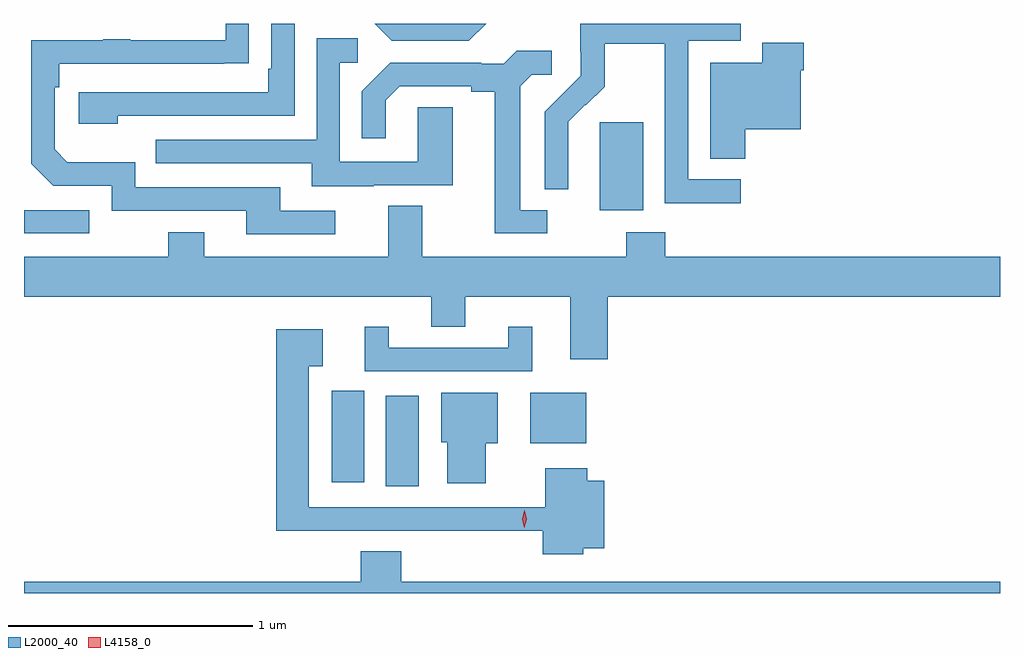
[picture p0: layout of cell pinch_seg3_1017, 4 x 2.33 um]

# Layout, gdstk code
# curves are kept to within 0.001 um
import gdstk
lib = gdstk.Library(unit=1e-6, precision=1e-09)
def R(c, l, rs):  # rectangles x0, y0, x1, y1
    for r in rs: c.add(gdstk.rectangle(r[:2], r[2:], *l))
def P(c, l, *ps):  # polygons
    for p in ps: c.add(gdstk.Polygon(p, *l))
L2000_40 = (2000, 40)
L4158_0 = (4158, 0)

pinch_seg3_1017 = lib.new_cell('pinch_seg3_1017')
R(pinch_seg3_1017, L2000_40, [(618.014,666.838,618.148,667.21), (617.792,666.855,617.926,667.23), (618.605,667.016,618.835,667.222), (616.531,667.875,616.798,667.971), (618.89,667.97,619.069,668.331)])
P(pinch_seg3_1017, L2000_40, [(619.468,668.097),(619.254,668.097),(619.254,668.664),(619.468,668.664),(619.468,668.735),(618.81,668.735),(618.81,668.619),(618.812,668.619),(618.812,668.522),(618.666,668.374),(618.666,668.056),(618.762,668.056),(618.761,668.333),(618.831,668.403),(618.834,668.4),(618.911,668.477),(618.911,668.652),(619.156,668.652),(619.156,668.428),(619.158,668.428),(619.158,667.999),(619.468,667.999)],
  [(618.425,668.735),(617.968,668.735),(618.039,668.664),(618.354,668.664)],
  [(616.916,668.358),(617.64,668.358),(617.64,668.735),(617.544,668.735),(617.544,668.551),(617.531,668.551),(617.531,668.454),(616.755,668.454),(616.755,668.324),(616.916,668.324)],
  [(617.806,667.968),(617.581,667.968),(617.581,668.064),(616.986,668.064),(616.986,668.167),(616.709,668.167),(616.656,668.22),(616.656,668.474),(616.676,668.474),(616.676,668.571),(617.453,668.572),(617.453,668.735),(617.357,668.735),(617.357,668.667),(616.967,668.667),(616.967,668.672),(616.855,668.672),(616.855,668.667),(616.56,668.667),(616.56,668.16),(616.65,668.07),(616.89,668.07),(616.89,667.968),(617.441,667.968),(617.441,667.872),(617.806,667.872)],
  [(617.965,668.073),(618.289,668.073),(618.289,668.393),(618.144,668.393),(618.144,668.169),(617.826,668.169),(617.826,668.574),(617.899,668.574),(617.899,668.675),(617.73,668.675),(617.73,668.259),(617.071,668.259),(617.071,668.163),(617.711,668.163),(617.711,668.069),(617.965,668.069)],
  [(619.487,668.303),(619.714,668.303),(619.714,668.543),(619.727,668.543),(619.727,668.656),(619.556,668.656),(619.556,668.575),(619.343,668.575),(619.343,668.182),(619.487,668.182)],
  [(618.676,667.971),(618.565,667.971),(618.565,668.479),(618.612,668.526),(618.694,668.526),(618.694,668.623),(618.55,668.623),(618.498,668.571),(618.404,668.571),(618.404,668.574),(618.032,668.574),(617.916,668.458),(617.916,668.265),(618.013,668.265),(618.013,668.421),(618.07,668.478),(618.365,668.478),(618.365,668.456),(618.461,668.456),(618.461,667.875),(618.676,667.875)],
  [(618.923,667.616),(620.531,667.616),(620.531,667.78),(619.16,667.78),(619.16,667.879),(619,667.879),(619,667.78),(618.163,667.78),(618.163,667.988),(618.023,667.988),(618.023,667.78),(617.269,667.78),(617.269,667.879),(617.122,667.879),(617.122,667.78),(616.531,667.78),(616.531,667.616),(618.2,667.616),(618.2,667.492),(618.34,667.492),(618.34,667.616),(618.77,667.616),(618.77,667.359),(618.923,667.359)],
  [(618.613,667.492),(618.515,667.492),(618.515,667.407),(618.025,667.407),(618.025,667.492),(617.927,667.492),(617.927,667.311),(618.613,667.311)],
  [(618.822,666.584),(618.91,666.584),(618.91,666.862),(618.839,666.862),(618.839,666.913),(618.668,666.913),(618.668,666.753),(617.698,666.753),(617.698,667.331),(617.755,667.331),(617.755,667.483),(617.564,667.483),(617.564,666.656),(617.794,666.656),(617.794,666.657),(618.16,666.657),(618.16,666.656),(618.656,666.656),(618.656,666.56),(618.822,666.56)],
  [(618.424,667.016),(618.472,667.016),(618.472,667.222),(618.242,667.222),(618.242,667.02),(618.266,667.02),(618.266,666.852),(618.424,666.852)],
  [(620.531,666.448),(618.077,666.448),(618.077,666.572),(617.912,666.572),(617.912,666.448),(616.531,666.448),(616.531,666.4),(620.531,666.4)])
P(pinch_seg3_1017, L4158_0, [(618.581,666.669),(618.581,666.669),(618.572,666.704),(618.582,666.739),(618.582,666.74),(618.583,666.739),(618.592,666.704),(618.581,666.669)])

lib.write_gds('pinch_seg3_1017.gds')
